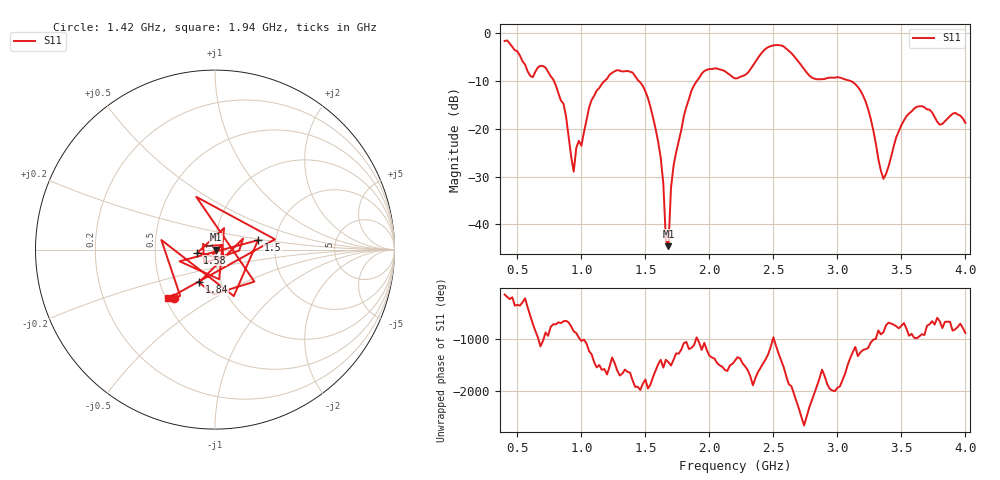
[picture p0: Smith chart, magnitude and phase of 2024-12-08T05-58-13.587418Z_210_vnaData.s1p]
!Created with skrf (http://scikit-rf.org).
# Hz S RI R 50.0
!freq ReS11 ImS11
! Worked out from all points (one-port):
!   181 points, 400 MHz to 4 GHz, reference 50 ohm
!   lowest |S11| = -44.5 dB at 1.68 GHz (marker M1), VSWR 1.01, Z = 50.6 - j0.112 ohm
!   |S11| at or under -10 dB: 784.4 MHz to 1.182 GHz (398 MHz wide, 40.5 % of centre); 1.447 GHz to 1.903 GHz (456.7 MHz wide, 27.3 % of centre); 3.098 GHz to end of sweep
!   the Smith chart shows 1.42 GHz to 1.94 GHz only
!   S11 on the Smith chart (normalised r, x): 1.42 GHz: 0.55, -0.34; 1.5 GHz: 1.62, +0.18; 1.58 GHz: 0.82, -0.03; 1.84 GHz: 0.79, -0.30; 1.94 GHz: 0.52, -0.33
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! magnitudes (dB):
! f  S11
! 400 MHz  -1.7
! 600 MHz  -9.0
! 720 MHz  -7.2
! 860 MHz  -14.8
! 940 MHz  -29.0
! 960 MHz  -24.0
! 1.08 GHz  -14.0
! 1.3 GHz  -7.9
! 1.42 GHz  -9.0
! 1.5 GHz  -12.2
! 1.58 GHz  -20.1
! 1.62 GHz  -26.1
! 1.64 GHz  -31.5
! 1.66 GHz  -43.2
! 1.68 GHz  -44.5
! 1.7 GHz  -32.4
! 1.76 GHz  -22.7
! 1.84 GHz  -13.8
! 1.94 GHz  -8.5
! 2.2 GHz  -9.5
! 2.48 GHz  -2.8
! 2.66 GHz  -4.8
! 2.8 GHz  -9.3
! 3.1 GHz  -10.0
! 3.22 GHz  -14.3
! 3.36 GHz  -30.5
! 3.56 GHz  -16.8
! 4 GHz  -18.8
